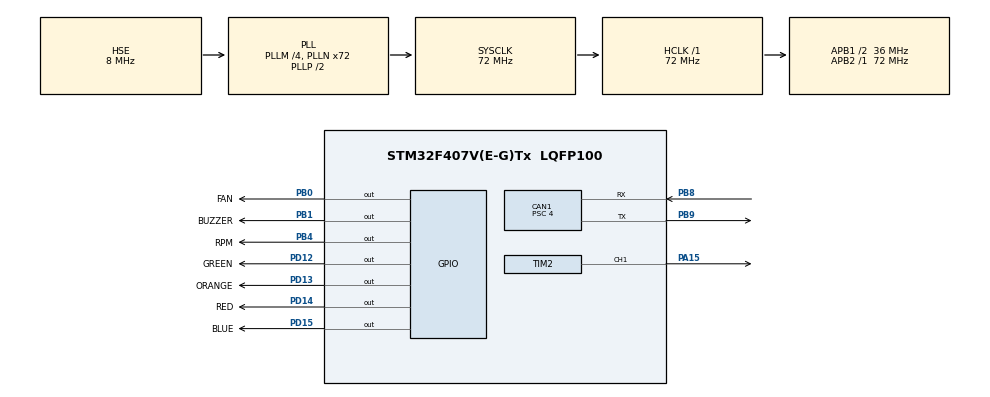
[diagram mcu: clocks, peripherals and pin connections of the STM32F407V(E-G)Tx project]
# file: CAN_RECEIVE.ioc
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CAN1.BS1=CAN_BS1_7TQ
CAN1.CalculateBaudRate=1000000
CAN1.CalculateTimeBit=1000
CAN1.CalculateTimeQuantum=111.11111111111111
CAN1.Prescaler=4
Mcu.Family=STM32F4
Mcu.Name=STM32F407V(E-G)Tx
Mcu.Package=LQFP100
NVIC.CAN1_RX0_IRQn=true\:0\:0\:false\:false\:true\:true\:true\:true
NVIC.PriorityGroup=NVIC_PRIORITYGROUP_4
NVIC.TIM2_IRQn=true\:0\:0\:false\:false\:true\:true\:true\:true
PA15.Signal=S_TIM2_CH1_ETR
PB0.GPIO_Label=FAN
PB0.GPIO_PuPd=GPIO_PULLDOWN
PB0.Signal=GPIO_Output
PB1.GPIO_Label=BUZZER
PB1.GPIO_PuPd=GPIO_PULLDOWN
PB1.Signal=GPIO_Output
PB4.GPIO_Label=RPM
PB4.Signal=GPIO_Output
PB8.Mode=CAN_Activate
PB8.Signal=CAN1_RX
PB9.Mode=CAN_Activate
PB9.Signal=CAN1_TX
PD12.GPIO_Label=GREEN
PD12.Signal=GPIO_Output
PD13.GPIO_Label=ORANGE
PD13.Signal=GPIO_Output
PD14.GPIO_Label=RED
PD14.Signal=GPIO_Output
PD15.GPIO_Label=BLUE
PD15.Signal=GPIO_Output
PH0-OSC_IN.Mode=HSE-External-Oscillator
PH0-OSC_IN.Signal=RCC_OSC_IN
PH1-OSC_OUT.Mode=HSE-External-Oscillator
PH1-OSC_OUT.Signal=RCC_OSC_OUT
ProjectManager.HeapSize=0x200
ProjectManager.StackSize=0x400
ProjectManager.TargetToolchain=STM32CubeIDE
RCC.48MHZClocksFreq_Value=36000000
RCC.AHBFreq_Value=72000000
RCC.APB1CLKDivider=RCC_HCLK_DIV2
RCC.APB1Freq_Value=36000000
RCC.APB1TimFreq_Value=72000000
RCC.APB2Freq_Value=72000000
RCC.APB2TimFreq_Value=72000000
RCC.CortexFreq_Value=72000000
RCC.HCLKFreq_Value=72000000
RCC.HSE_VALUE=8000000
RCC.HSI_VALUE=16000000
RCC.LSE_VALUE=32768
RCC.PLLM=4
RCC.PLLN=72
RCC.PLLSourceVirtual=RCC_PLLSOURCE_HSE
RCC.SYSCLKFreq_VALUE=72000000
RCC.SYSCLKSource=RCC_SYSCLKSOURCE_PLLCLK
RCC.VCOOutputFreq_Value=144000000
SH.S_TIM2_CH1_ETR.0=TIM2_CH1,PWM Generation1 CH1
TIM2.Channel-PWM\ Generation1\ CH1=TIM_CHANNEL_1
TIM2.Period=10000-1
TIM2.Prescaler=144-1
VP_TIM2_VS_ClockSourceINT.Mode=Internal
board=custom

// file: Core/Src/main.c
/* USER CODE BEGIN Header */
/**
  ******************************************************************************
  * @file           : main.c
  * @brief          : Main program body
  ******************************************************************************
  * @attention
  *
  * Copyright (c) 2024 STMicroelectronics.
  * All rights reserved.
  *
  * This software is licensed under terms that can be found in the LICENSE file
  * in the root directory of this software component.
  * If no LICENSE file comes with this software, it is provided AS-IS.
  *
  ******************************************************************************
  */
/* USER CODE END Header */
#include "main.h"

CAN_HandleTypeDef hcan1;

TIM_HandleTypeDef htim2;

/* USER CODE BEGIN PV */

CAN_HandleTypeDef hcan1;
CAN_FilterTypeDef Filtercan1;
CAN_RxHeaderTypeDef pRxHeader;
CAN_TxHeaderTypeDef pTxHeader;
uint8_t aTxData[8];
uint8_t aRxData[8];
uint8_t test[8];
char Datacheck = 0;

/* USER CODE END PV */

void SystemClock_Config(void);
static void MX_GPIO_Init(void);
static void MX_CAN1_Init(void);
static void MX_TIM2_Init(void);

int main(void)
{

  /* MCU Configuration--------------------------------------------------------*/

  /* Reset of all peripherals, Initializes the Flash interface and the Systick. */
  HAL_Init();

  /* Configure the system clock */
  SystemClock_Config();

  /* Initialize all configured peripherals */
  MX_GPIO_Init();
  MX_CAN1_Init();
  MX_TIM2_Init();
  /* USER CODE BEGIN 2 */

       // CAN filter
     Filtercan1.FilterIdHigh = 0x00;
     Filtercan1.FilterIdLow = 0x00;
     Filtercan1.FilterMaskIdHigh = 0x00;
     Filtercan1.FilterMaskIdLow = 0x00;
     Filtercan1.FilterFIFOAssignment = CAN_FILTER_FIFO0;
     Filtercan1.FilterBank = 0x00;
     Filtercan1.FilterMode = CAN_FILTERMODE_IDMASK;
     Filtercan1.FilterScale = CAN_FILTERSCALE_32BIT;
     Filtercan1.FilterActivation = CAN_FILTER_ENABLE;
     Filtercan1.SlaveStartFilterBank = 14;
     if (HAL_CAN_ConfigFilter(&hcan1, &Filtercan1)!= HAL_OK)
  		  {
  		    Error_Handler();
  		  }

        // Start CAN
    if (HAL_CAN_Start(&hcan1)!= HAL_OK)
  		  {
  		    Error_Handler();
  		  }
        // Activer la notification de la réception
    if (HAL_CAN_ActivateNotification(&hcan1,CAN_IT_RX_FIFO0_MSG_PENDING)!= HAL_OK)
  		  {
  		    Error_Handler();
  		  }

    if (HAL_TIM_PWM_Start(&htim2,TIM_CHANNEL_1)!= HAL_OK)
    	 	     {
    	 	    Error_Handler();
    	 	     }

                pTxHeader.DLC=6;
   		   	    pTxHeader.ExtId=0;
   		   	    pTxHeader.IDE=CAN_ID_STD;
   		   	    pTxHeader.StdId=2;
   		   	    pTxHeader.RTR=CAN_RTR_DATA;
   		   	    pTxHeader.TransmitGlobalTime = DISABLE;

  /* USER CODE END 2 */

  /* Infinite loop */
  /* USER CODE BEGIN WHILE */
  while (1)
  {
	  if (test[6]==0x41)//if (pRxHeader.StdId == 0x001)
	  {
		       if (test[0] > 200)
		  				        {
		  				  	      HAL_GPIO_WritePin(GPIOD, GREEN_Pin, SET);
		  				  	  	  HAL_GPIO_WritePin(GPIOD, ORANGE_Pin, RESET);
		  				  	  	  HAL_GPIO_WritePin(GPIOD, RED_Pin, RESET);
		  				  	  	}
		  		if (test[0] > 70)
		  				  	  	{
		  				  	  	  HAL_GPIO_WritePin(GPIOD, GREEN_Pin, RESET);
		  				  	  	  HAL_GPIO_WritePin(GPIOD, ORANGE_Pin, SET);
		  				  	  	  HAL_GPIO_WritePin(GPIOD, RED_Pin, RESET);
		  				  	    }
		  		                else
		  				  	  	{
		  				  	  	  HAL_GPIO_WritePin(GPIOD, GREEN_Pin, RESET);
		  				  	  	  HAL_GPIO_WritePin(GPIOD, ORANGE_Pin, RESET);
		  				  	  	  HAL_GPIO_WritePin(GPIOD, RED_Pin, SET);
		  				  	    }
		  		 if (test[1]<20)
		  				 	    {
		  				 	      HAL_GPIO_TogglePin(GPIOD, BLUE_Pin);
		  				 	      HAL_GPIO_WritePin(GPIOB, BUZZER_Pin, GPIO_PIN_SET);
		  				 	    }
		  		 if (test[1]>20)
		  				 	    {
		  				 	      HAL_GPIO_WritePin(GPIOD, BLUE_Pin, GPIO_PIN_SET);
		  				 	      HAL_GPIO_WritePin(GPIOB, BUZZER_Pin, GPIO_PIN_RESET);
		  				 	    }
		  		 if (test[2]>30)
		  		                {
		  			              HAL_GPIO_WritePin(GPIOB, FAN_Pin, GPIO_PIN_SET);
		  		                }
		  		 if (test[2]<30)
		  				        {
		  				  		  HAL_GPIO_WritePin(GPIOB, FAN_Pin, GPIO_PIN_RESET);
		  				  		}
		  		if (test[3] == 0)
		  				  	    {
		  				  		__HAL_TIM_SET_COMPARE(&htim2,TIM_CHANNEL_1,750);
		  				  		HAL_Delay(100);
		  				  	    }
		  		if (test[3] == 1)
		  			            {
		  				        __HAL_TIM_SET_COMPARE(&htim2,TIM_CHANNEL_1,750);
		  					    HAL_Delay(700);
		  					    __HAL_TIM_SET_COMPARE(&htim2,TIM_CHANNEL_1,1150);
		  					    HAL_Delay(700);
		  					    __HAL_TIM_SET_COMPARE(&htim2,TIM_CHANNEL_1,750);
		  					    HAL_Delay(700);
		  			            }
		  	    if (test[3] == 2)
		  			            {
		  			            __HAL_TIM_SET_COMPARE(&htim2,TIM_CHANNEL_1,750);
		  			            HAL_Delay(100);
		  			            __HAL_TIM_SET_COMPARE(&htim2,TIM_CHANNEL_1,1150);
		  			            HAL_Delay(100);
		  			            __HAL_TIM_SET_COMPARE(&htim2,TIM_CHANNEL_1,750);
		  			            HAL_Delay(100);
		  			            }
		  	    if (test[4]>150)
		  	    {
		  	    	HAL_GPIO_WritePin(GPIOB, RPM_Pin, GPIO_PIN_SET);
		  	    }
		  	    else
		  	    {
		  	 	    HAL_GPIO_WritePin(GPIOB, RPM_Pin, GPIO_PIN_RESET);
		  	    }
	  }
	  if (test[6]==0x4D)
	  {
		  if (test[5]==0x30)
		  {
			  HAL_GPIO_WritePin(GPIOB, BUZZER_Pin, GPIO_PIN_SET);
		  }

		  if (test[5]==0x31)
		  {
		  	  HAL_GPIO_WritePin(GPIOB, BUZZER_Pin, GPIO_PIN_RESET);
		  }

		  if (test[5]==0x32)
		  {
			  HAL_GPIO_WritePin(GPIOB, FAN_Pin, GPIO_PIN_SET);
		  }

		  if (test[5]==0x33)
		  {
		  	  HAL_GPIO_WritePin(GPIOB, FAN_Pin, GPIO_PIN_RESET);
		  }

		  if (test[5]==0x34)
		  {
			  __HAL_TIM_SET_COMPARE(&htim2,TIM_CHANNEL_1,750);
			  HAL_Delay(100);
			  __HAL_TIM_SET_COMPARE(&htim2,TIM_CHANNEL_1,1150);
			  HAL_Delay(100);
			  __HAL_TIM_SET_COMPARE(&htim2,TIM_CHANNEL_1,750);
			  HAL_Delay(100);
		  }

		  if (test[5]==0x35)
		  {
		  __HAL_TIM_SET_COMPARE(&htim2,TIM_CHANNEL_1,750);
		  HAL_Delay(200);
		  }
	  }

	  HAL_Delay(50);
	  if (HAL_CAN_AddTxMessage(&hcan1,&pTxHeader,aTxData,(uint32_t *)CAN_TX_MAILBOX0)!= HAL_OK)
	  			  	  	     {
	  			  	  	    Error_Handler();
	  			  	  	     }
	       HAL_Delay(500);
    /* USER CODE END WHILE */

  }
}

void SystemClock_Config(void)
{
  RCC_OscInitTypeDef RCC_OscInitStruct = {0};
  RCC_ClkInitTypeDef RCC_ClkInitStruct = {0};

  /** Configure the main internal regulator output voltage
  */
  __HAL_RCC_PWR_CLK_ENABLE();
  __HAL_PWR_VOLTAGESCALING_CONFIG(PWR_REGULATOR_VOLTAGE_SCALE1);

  /** Initializes the RCC Oscillators according to the specified parameters
  * in the RCC_OscInitTypeDef structure.
  */
  RCC_OscInitStruct.OscillatorType = RCC_OSCILLATORTYPE_HSE;
  RCC_OscInitStruct.HSEState = RCC_HSE_ON;
  RCC_OscInitStruct.PLL.PLLState = RCC_PLL_ON;
  RCC_OscInitStruct.PLL.PLLSource = RCC_PLLSOURCE_HSE;
  RCC_OscInitStruct.PLL.PLLM = 4;
  RCC_OscInitStruct.PLL.PLLN = 72;
  RCC_OscInitStruct.PLL.PLLP = RCC_PLLP_DIV2;
  RCC_OscInitStruct.PLL.PLLQ = 4;
  if (HAL_RCC_OscConfig(&RCC_OscInitStruct) != HAL_OK)
  {
    Error_Handler();
  }

  /** Initializes the CPU, AHB and APB buses clocks
  */
  RCC_ClkInitStruct.ClockType = RCC_CLOCKTYPE_HCLK|RCC_CLOCKTYPE_SYSCLK
                              |RCC_CLOCKTYPE_PCLK1|RCC_CLOCKTYPE_PCLK2;
  RCC_ClkInitStruct.SYSCLKSource = RCC_SYSCLKSOURCE_PLLCLK;
  RCC_ClkInitStruct.AHBCLKDivider = RCC_SYSCLK_DIV1;
  RCC_ClkInitStruct.APB1CLKDivider = RCC_HCLK_DIV2;
  RCC_ClkInitStruct.APB2CLKDivider = RCC_HCLK_DIV1;

  if (HAL_RCC_ClockConfig(&RCC_ClkInitStruct, FLASH_LATENCY_2) != HAL_OK)
  {
    Error_Handler();
  }
}

static void MX_CAN1_Init(void)
{

  hcan1.Instance = CAN1;
  hcan1.Init.Prescaler = 4;
  hcan1.Init.Mode = CAN_MODE_NORMAL;
  hcan1.Init.SyncJumpWidth = CAN_SJW_1TQ;
  hcan1.Init.TimeSeg1 = CAN_BS1_7TQ;
  hcan1.Init.TimeSeg2 = CAN_BS2_1TQ;
  hcan1.Init.TimeTriggeredMode = DISABLE;
  hcan1.Init.AutoBusOff = DISABLE;
  hcan1.Init.AutoWakeUp = DISABLE;
  hcan1.Init.AutoRetransmission = DISABLE;
  hcan1.Init.ReceiveFifoLocked = DISABLE;
  hcan1.Init.TransmitFifoPriority = DISABLE;
  if (HAL_CAN_Init(&hcan1) != HAL_OK)
  {
    Error_Handler();
  }

}

static void MX_TIM2_Init(void)
{

  TIM_ClockConfigTypeDef sClockSourceConfig = {0};
  TIM_MasterConfigTypeDef sMasterConfig = {0};
  TIM_OC_InitTypeDef sConfigOC = {0};

  htim2.Instance = TIM2;
  htim2.Init.Prescaler = 144-1;
  htim2.Init.CounterMode = TIM_COUNTERMODE_UP;
  htim2.Init.Period = 10000-1;
  htim2.Init.ClockDivision = TIM_CLOCKDIVISION_DIV1;
  htim2.Init.AutoReloadPreload = TIM_AUTORELOAD_PRELOAD_DISABLE;
  if (HAL_TIM_Base_Init(&htim2) != HAL_OK)
  {
    Error_Handler();
  }
  sClockSourceConfig.ClockSource = TIM_CLOCKSOURCE_INTERNAL;
  if (HAL_TIM_ConfigClockSource(&htim2, &sClockSourceConfig) != HAL_OK)
  {
    Error_Handler();
  }
  if (HAL_TIM_PWM_Init(&htim2) != HAL_OK)
  {
    Error_Handler();
  }
  sMasterConfig.MasterOutputTrigger = TIM_TRGO_RESET;
  sMasterConfig.MasterSlaveMode = TIM_MASTERSLAVEMODE_DISABLE;
  if (HAL_TIMEx_MasterConfigSynchronization(&htim2, &sMasterConfig) != HAL_OK)
  {
    Error_Handler();
  }
  sConfigOC.OCMode = TIM_OCMODE_PWM1;
  sConfigOC.Pulse = 0;
  sConfigOC.OCPolarity = TIM_OCPOLARITY_HIGH;
  sConfigOC.OCFastMode = TIM_OCFAST_DISABLE;
  if (HAL_TIM_PWM_ConfigChannel(&htim2, &sConfigOC, TIM_CHANNEL_1) != HAL_OK)
  {
    Error_Handler();
  }
  HAL_TIM_MspPostInit(&htim2);

}

static void MX_GPIO_Init(void)
{
  GPIO_InitTypeDef GPIO_InitStruct = {0};

  /* GPIO Ports Clock Enable */
  __HAL_RCC_GPIOH_CLK_ENABLE();
  __HAL_RCC_GPIOB_CLK_ENABLE();
  __HAL_RCC_GPIOD_CLK_ENABLE();
  __HAL_RCC_GPIOA_CLK_ENABLE();

  /*Configure GPIO pin Output Level */
  HAL_GPIO_WritePin(GPIOB, FAN_Pin|BUZZER_Pin|RPM_Pin, GPIO_PIN_RESET);

  /*Configure GPIO pin Output Level */
  HAL_GPIO_WritePin(GPIOD, GREEN_Pin|ORANGE_Pin|RED_Pin|BLUE_Pin, GPIO_PIN_RESET);

  /*Configure GPIO pins : FAN_Pin BUZZER_Pin */
  GPIO_InitStruct.Pin = FAN_Pin|BUZZER_Pin;
  GPIO_InitStruct.Mode = GPIO_MODE_OUTPUT_PP;
  GPIO_InitStruct.Pull = GPIO_PULLDOWN;
  GPIO_InitStruct.Speed = GPIO_SPEED_FREQ_LOW;
  HAL_GPIO_Init(GPIOB, &GPIO_InitStruct);

  /*Configure GPIO pins : GREEN_Pin ORANGE_Pin RED_Pin BLUE_Pin */
  GPIO_InitStruct.Pin = GREEN_Pin|ORANGE_Pin|RED_Pin|BLUE_Pin;
  GPIO_InitStruct.Mode = GPIO_MODE_OUTPUT_PP;
  GPIO_InitStruct.Pull = GPIO_NOPULL;
  GPIO_InitStruct.Speed = GPIO_SPEED_FREQ_LOW;
  HAL_GPIO_Init(GPIOD, &GPIO_InitStruct);

  /*Configure GPIO pin : RPM_Pin */
  GPIO_InitStruct.Pin = RPM_Pin;
  GPIO_InitStruct.Mode = GPIO_MODE_OUTPUT_PP;
  GPIO_InitStruct.Pull = GPIO_NOPULL;
  GPIO_InitStruct.Speed = GPIO_SPEED_FREQ_LOW;
  HAL_GPIO_Init(RPM_GPIO_Port, &GPIO_InitStruct);

}

/* USER CODE BEGIN 4 */

void HAL_CAN_RxFifo0MsgPendingCallback(CAN_HandleTypeDef *hcan)
{
	if (HAL_CAN_GetRxMessage(hcan, CAN_RX_FIFO0,&pRxHeader,aRxData)!= HAL_OK)
		  {
		     Error_Handler();
		  }

	if (pRxHeader.StdId == 0x001)
	  {
		// Vérification de l'ID
          Datacheck = 1;

		test[0]=aRxData[0];
		test[1]=aRxData[1];
		test[2]=aRxData[2];
		test[3]=aRxData[3];
		test[4]=aRxData[4];
	  }

	if (pRxHeader.StdId == 0x003)
	  {
		test[5]=aRxData[5];
		test[6]=aRxData[6];
		aTxData[5]=aRxData[5];
	  }

}

/* USER CODE END 4 */

void Error_Handler(void)
{
  __disable_irq();
  while (1)
  {
  }
}
